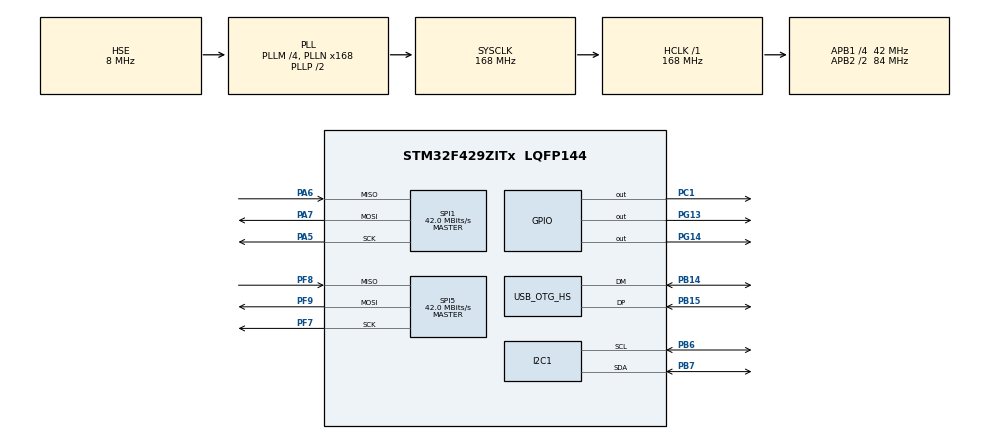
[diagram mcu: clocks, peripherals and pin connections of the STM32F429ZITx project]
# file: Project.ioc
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FREERTOS.BinarySemaphores01=myBinarySemBallUp,Dynamic,NULL;myBinarySemRacket,Dynamic,NULL
FREERTOS.CountingSemaphores01=myCountingRadiusCir,2,Dynamic,NULL
FREERTOS.Tasks01=Task01,24,128,StartTask1,Default,NULL,Dynamic,NULL,NULL;Task02,24,128,StartTask02,Default,NULL,Dynamic,NULL,NULL;Task03,24,128,StartTask03,Default,NULL,Dynamic,NULL,NULL;Task04,24,128,StartTask04,Default,NULL,Dynamic,NULL,NULL
Mcu.Family=STM32F4
Mcu.Name=STM32F429ZITx
Mcu.Package=LQFP144
NVIC.OTG_HS_IRQn=true\:5\:0\:false\:false\:true\:true\:true\:true\:true
NVIC.PriorityGroup=NVIC_PRIORITYGROUP_4
NVIC.TIM2_IRQn=true\:5\:0\:false\:false\:true\:true\:true\:true\:true
NVIC.TIM3_IRQn=true\:5\:0\:false\:false\:true\:true\:true\:true\:true
NVIC.TIM6_DAC_IRQn=true\:15\:0\:false\:false\:true\:false\:false\:true\:true
NVIC.TimeBase=TIM6_DAC_IRQn
NVIC.TimeBaseIP=TIM6
PA13.Mode=Serial_Wire
PA13.Signal=SYS_JTMS-SWDIO
PA14.Mode=Serial_Wire
PA14.Signal=SYS_JTCK-SWCLK
PA5.Mode=Full_Duplex_Master
PA5.Signal=SPI1_SCK
PA6.Mode=Full_Duplex_Master
PA6.Signal=SPI1_MISO
PA7.Mode=Full_Duplex_Master
PA7.Signal=SPI1_MOSI
PB14.Mode=Device_Only_FS
PB14.Signal=USB_OTG_HS_DM
PB15.Mode=Device_Only_FS
PB15.Signal=USB_OTG_HS_DP
PB6.Mode=I2C
PB6.Signal=I2C1_SCL
PB7.Mode=I2C
PB7.Signal=I2C1_SDA
PC1.Signal=GPIO_Output
PF7.Mode=Full_Duplex_Master
PF7.Signal=SPI5_SCK
PF8.Mode=Full_Duplex_Master
PF8.Signal=SPI5_MISO
PF9.Mode=Full_Duplex_Master
PF9.Signal=SPI5_MOSI
PG13.GPIO_Speed=GPIO_SPEED_FREQ_HIGH
PG13.PinState=GPIO_PIN_RESET
PG13.Signal=GPIO_Output
PG14.GPIO_Speed=GPIO_SPEED_FREQ_HIGH
PG14.Signal=GPIO_Output
PH0/OSC_IN.Mode=HSE-External-Oscillator
PH0/OSC_IN.Signal=RCC_OSC_IN
PH1/OSC_OUT.Mode=HSE-External-Oscillator
PH1/OSC_OUT.Signal=RCC_OSC_OUT
ProjectManager.HeapSize=0x2000
ProjectManager.StackSize=0x400
ProjectManager.TargetToolchain=STM32CubeIDE
RCC.48MHZClocksFreq_Value=48000000
RCC.AHBFreq_Value=168000000
RCC.APB1CLKDivider=RCC_HCLK_DIV4
RCC.APB1Freq_Value=42000000
RCC.APB1TimFreq_Value=84000000
RCC.APB2CLKDivider=RCC_HCLK_DIV2
RCC.APB2Freq_Value=84000000
RCC.APB2TimFreq_Value=168000000
RCC.CortexFreq_Value=168000000
RCC.HCLKFreq_Value=168000000
RCC.HSE_VALUE=8000000
RCC.HSI_VALUE=16000000
RCC.LSE_VALUE=32768
RCC.PLLM=4
RCC.PLLN=168
RCC.PLLQ=7
RCC.SYSCLKFreq_VALUE=168000000
RCC.SYSCLKSource=RCC_SYSCLKSOURCE_PLLCLK
RCC.VCOOutputFreq_Value=336000000
SPI1.CalculateBaudRate=42.0 MBits/s
SPI1.Direction=SPI_DIRECTION_2LINES
SPI1.Mode=SPI_MODE_MASTER
SPI1.VirtualType=VM_MASTER
SPI5.CalculateBaudRate=42.0 MBits/s
SPI5.Direction=SPI_DIRECTION_2LINES
SPI5.Mode=SPI_MODE_MASTER
SPI5.VirtualType=VM_MASTER
TIM2.AutoReloadPreload=TIM_AUTORELOAD_PRELOAD_ENABLE
TIM2.Period=7200
TIM2.Prescaler=1000
TIM3.Period=7200
TIM3.Prescaler=1000
USB_DEVICE.CLASS_NAME_HS=CDC
USB_DEVICE.VirtualMode-CDC_HS=Cdc
USB_DEVICE.VirtualModeHS=Cdc_HS
USB_OTG_HS.VirtualMode-Device_Only_FS=Device_Only_FS
VP_FREERTOS_VS_CMSIS_V2.Mode=CMSIS_V2
VP_SYS_VS_tim6.Mode=TIM6
VP_TIM2_VS_ClockSourceINT.Mode=Internal
VP_TIM3_VS_ClockSourceINT.Mode=Internal
VP_USB_DEVICE_VS_USB_DEVICE_CDC_HS.Mode=CDC_HS
board=custom

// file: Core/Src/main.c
/* USER CODE BEGIN Header */
/**
 ******************************************************************************
 * @file           : main.c
 * @brief          : Main program body
 ******************************************************************************
 * @attention
 *
 * Copyright (c) 2023 STMicroelectronics.
 * All rights reserved.
 *
 * This software is licensed under terms that can be found in the LICENSE file
 * in the root directory of this software component.
 * If no LICENSE file comes with this software, it is provided AS-IS.
 *
 ******************************************************************************
 */
/* USER CODE END Header */
#include "main.h"
#include "cmsis_os.h"
#include "usb_device.h"

/* USER CODE BEGIN Includes */
#include "usbd_cdc_if.h"
#include "stm32f429i_discovery_gyroscope.h"
#include "stm32f429i_discovery_lcd.h"
#include <stdbool.h>
#include "l3gd20.h"
/* USER CODE END Includes */

/* USER CODE BEGIN PD */
osSemaphoreDef(myBinarySemBallUp);
osSemaphoreDef(myBinarySemRacket);
osSemaphoreDef(myCountingRadiusCir);
/* USER CODE END PD */

I2C_HandleTypeDef hi2c1;

SPI_HandleTypeDef hspi1;
SPI_HandleTypeDef hspi5;

TIM_HandleTypeDef htim2;
TIM_HandleTypeDef htim3;

/* Definitions for Task01 */
osThreadId_t Task01Handle;
const osThreadAttr_t Task01_attributes = { .name = "Task01", .stack_size = 128
		* 4, .priority = (osPriority_t) osPriorityNormal, };
/* Definitions for Task02 */
osThreadId_t Task02Handle;
const osThreadAttr_t Task02_attributes = { .name = "Task02", .stack_size = 128
		* 4, .priority = (osPriority_t) osPriorityNormal, };
/* Definitions for Task03 */
osThreadId_t Task03Handle;
const osThreadAttr_t Task03_attributes = { .name = "Task03", .stack_size = 128
		* 4, .priority = (osPriority_t) osPriorityNormal, };
/* Definitions for Task04 */
osThreadId_t Task04Handle;
const osThreadAttr_t Task04_attributes = { .name = "Task04", .stack_size = 128
		* 4, .priority = (osPriority_t) osPriorityNormal, };
/* Definitions for myBinarySemBallUp */
osSemaphoreId_t myBinarySemBallUpHandle;
const osSemaphoreAttr_t myBinarySemBallUp_attributes = { .name =
		"myBinarySemBallUp" };
/* Definitions for myBinarySemRacket */
osSemaphoreId_t myBinarySemRacketHandle;
const osSemaphoreAttr_t myBinarySemRacket_attributes = { .name =
		"myBinarySemRacket" };
/* Definitions for myCountingRadiusCir */
osSemaphoreId_t myCountingRadiusCirHandle;
const osSemaphoreAttr_t myCountingRadiusCir_attributes = { .name =
		"myCountingRadiusCir" };

void SystemClock_Config(void);
static void MX_GPIO_Init(void);
static void MX_I2C1_Init(void);
static void MX_SPI1_Init(void);
static void MX_TIM2_Init(void);
static void MX_TIM3_Init(void);
static void MX_SPI5_Init(void);
void StartTask1(void *argument);
void StartTask02(void *argument);
void StartTask03(void *argument);
void StartTask04(void *argument);

/* USER CODE BEGIN 0 */
float gyroData[5];
char gyroPrint[100];
int height = 0;
int score = 0;
char scoreBuffer[100];
char heightBuffer[100];
bool startGame = false;
bool ballUp = false;
bool racket = false;
int16_t XCir = 120;
int16_t YCir = 150;
int16_t radiusMax = 120;
int16_t radiusMin = 20;
int16_t radiusCir = 100;
uint16_t InitStruct;
/* USER CODE END 0 */

int main(void) {

	/* MCU Configuration--------------------------------------------------------*/

	/* Reset of all peripherals, Initializes the Flash interface and the Systick. */
	HAL_Init();

	/* Configure the system clock */
	SystemClock_Config();

	/* Initialize all configured peripherals */
	MX_GPIO_Init();
	MX_I2C1_Init();
	MX_SPI1_Init();
	MX_TIM2_Init();
	MX_TIM3_Init();
	MX_SPI5_Init();
	/* USER CODE BEGIN 2 */
	BSP_LCD_Init();
	BSP_GYRO_Init();

	BSP_LCD_LayerDefaultInit(1, SDRAM_DEVICE_ADDR);
	BSP_LCD_SelectLayer(1);
	BSP_LCD_DisplayOn();
	BSP_LCD_Clear(LCD_COLOR_BLUE);
	BSP_LCD_SetBackColor(LCD_COLOR_WHITE);
	BSP_LCD_SetTextColor(LCD_COLOR_BLUE);

	/* USER CODE END 2 */

	/* Init scheduler */
	osKernelInitialize();

	/* Create the semaphores(s) */
	/* creation of myBinarySemBallUp */
	myBinarySemBallUpHandle = osSemaphoreNew(1, 1,
			&myBinarySemBallUp_attributes);

	/* creation of myBinarySemRacket */
	myBinarySemRacketHandle = osSemaphoreNew(1, 1,
			&myBinarySemRacket_attributes);

	/* creation of myCountingRadiusCir */
	myCountingRadiusCirHandle = osSemaphoreNew(2, 2,
			&myCountingRadiusCir_attributes);

	/* Create the thread(s) */
	/* creation of Task01 */
	Task01Handle = osThreadNew(StartTask1, NULL, &Task01_attributes);

	/* creation of Task02 */
	Task02Handle = osThreadNew(StartTask02, NULL, &Task02_attributes);

	/* creation of Task03 */
	Task03Handle = osThreadNew(StartTask03, NULL, &Task03_attributes);

	/* creation of Task04 */
	Task04Handle = osThreadNew(StartTask04, NULL, &Task04_attributes);

	/* Start scheduler */
	osKernelStart();

	/* We should never get here as control is now taken by the scheduler */
	/* Infinite loop */
	while (1) {

	}
}

void SystemClock_Config(void) {
	RCC_OscInitTypeDef RCC_OscInitStruct = { 0 };
	RCC_ClkInitTypeDef RCC_ClkInitStruct = { 0 };

	/** Configure the main internal regulator output voltage
	 */
	__HAL_RCC_PWR_CLK_ENABLE();
	__HAL_PWR_VOLTAGESCALING_CONFIG(PWR_REGULATOR_VOLTAGE_SCALE1);

	/** Initializes the RCC Oscillators according to the specified parameters
	 * in the RCC_OscInitTypeDef structure.
	 */
	RCC_OscInitStruct.OscillatorType = RCC_OSCILLATORTYPE_HSE;
	RCC_OscInitStruct.HSEState = RCC_HSE_ON;
	RCC_OscInitStruct.PLL.PLLState = RCC_PLL_ON;
	RCC_OscInitStruct.PLL.PLLSource = RCC_PLLSOURCE_HSE;
	RCC_OscInitStruct.PLL.PLLM = 4;
	RCC_OscInitStruct.PLL.PLLN = 168;
	RCC_OscInitStruct.PLL.PLLP = RCC_PLLP_DIV2;
	RCC_OscInitStruct.PLL.PLLQ = 7;
	if (HAL_RCC_OscConfig(&RCC_OscInitStruct) != HAL_OK) {
		Error_Handler();
	}

	/** Initializes the CPU, AHB and APB buses clocks
	 */
	RCC_ClkInitStruct.ClockType = RCC_CLOCKTYPE_HCLK | RCC_CLOCKTYPE_SYSCLK
			| RCC_CLOCKTYPE_PCLK1 | RCC_CLOCKTYPE_PCLK2;
	RCC_ClkInitStruct.SYSCLKSource = RCC_SYSCLKSOURCE_PLLCLK;
	RCC_ClkInitStruct.AHBCLKDivider = RCC_SYSCLK_DIV1;
	RCC_ClkInitStruct.APB1CLKDivider = RCC_HCLK_DIV4;
	RCC_ClkInitStruct.APB2CLKDivider = RCC_HCLK_DIV2;

	if (HAL_RCC_ClockConfig(&RCC_ClkInitStruct, FLASH_LATENCY_5) != HAL_OK) {
		Error_Handler();
	}
}

static void MX_I2C1_Init(void) {

	hi2c1.Instance = I2C1;
	hi2c1.Init.ClockSpeed = 100000;
	hi2c1.Init.DutyCycle = I2C_DUTYCYCLE_2;
	hi2c1.Init.OwnAddress1 = 0;
	hi2c1.Init.AddressingMode = I2C_ADDRESSINGMODE_7BIT;
	hi2c1.Init.DualAddressMode = I2C_DUALADDRESS_DISABLE;
	hi2c1.Init.OwnAddress2 = 0;
	hi2c1.Init.GeneralCallMode = I2C_GENERALCALL_DISABLE;
	hi2c1.Init.NoStretchMode = I2C_NOSTRETCH_DISABLE;
	if (HAL_I2C_Init(&hi2c1) != HAL_OK) {
		Error_Handler();
	}

	/** Configure Analogue filter
	 */
	if (HAL_I2CEx_ConfigAnalogFilter(&hi2c1, I2C_ANALOGFILTER_ENABLE)
			!= HAL_OK) {
		Error_Handler();
	}

	/** Configure Digital filter
	 */
	if (HAL_I2CEx_ConfigDigitalFilter(&hi2c1, 0) != HAL_OK) {
		Error_Handler();
	}

}

static void MX_SPI1_Init(void) {

	/* SPI1 parameter configuration*/
	hspi1.Instance = SPI1;
	hspi1.Init.Mode = SPI_MODE_MASTER;
	hspi1.Init.Direction = SPI_DIRECTION_2LINES;
	hspi1.Init.DataSize = SPI_DATASIZE_8BIT;
	hspi1.Init.CLKPolarity = SPI_POLARITY_LOW;
	hspi1.Init.CLKPhase = SPI_PHASE_1EDGE;
	hspi1.Init.NSS = SPI_NSS_SOFT;
	hspi1.Init.BaudRatePrescaler = SPI_BAUDRATEPRESCALER_2;
	hspi1.Init.FirstBit = SPI_FIRSTBIT_MSB;
	hspi1.Init.TIMode = SPI_TIMODE_DISABLE;
	hspi1.Init.CRCCalculation = SPI_CRCCALCULATION_DISABLE;
	hspi1.Init.CRCPolynomial = 10;
	if (HAL_SPI_Init(&hspi1) != HAL_OK) {
		Error_Handler();
	}

}

static void MX_SPI5_Init(void) {

	/* SPI5 parameter configuration*/
	hspi5.Instance = SPI5;
	hspi5.Init.Mode = SPI_MODE_MASTER;
	hspi5.Init.Direction = SPI_DIRECTION_2LINES;
	hspi5.Init.DataSize = SPI_DATASIZE_8BIT;
	hspi5.Init.CLKPolarity = SPI_POLARITY_LOW;
	hspi5.Init.CLKPhase = SPI_PHASE_1EDGE;
	hspi5.Init.NSS = SPI_NSS_SOFT;
	hspi5.Init.BaudRatePrescaler = SPI_BAUDRATEPRESCALER_2;
	hspi5.Init.FirstBit = SPI_FIRSTBIT_MSB;
	hspi5.Init.TIMode = SPI_TIMODE_DISABLE;
	hspi5.Init.CRCCalculation = SPI_CRCCALCULATION_DISABLE;
	hspi5.Init.CRCPolynomial = 10;
	if (HAL_SPI_Init(&hspi5) != HAL_OK) {
		Error_Handler();
	}

}

static void MX_TIM2_Init(void) {

	TIM_ClockConfigTypeDef sClockSourceConfig = { 0 };
	TIM_MasterConfigTypeDef sMasterConfig = { 0 };

	htim2.Instance = TIM2;
	htim2.Init.Prescaler = 1000;
	htim2.Init.CounterMode = TIM_COUNTERMODE_UP;
	htim2.Init.Period = 7200;
	htim2.Init.ClockDivision = TIM_CLOCKDIVISION_DIV1;
	htim2.Init.AutoReloadPreload = TIM_AUTORELOAD_PRELOAD_ENABLE;
	if (HAL_TIM_Base_Init(&htim2) != HAL_OK) {
		Error_Handler();
	}
	sClockSourceConfig.ClockSource = TIM_CLOCKSOURCE_INTERNAL;
	if (HAL_TIM_ConfigClockSource(&htim2, &sClockSourceConfig) != HAL_OK) {
		Error_Handler();
	}
	sMasterConfig.MasterOutputTrigger = TIM_TRGO_RESET;
	sMasterConfig.MasterSlaveMode = TIM_MASTERSLAVEMODE_DISABLE;
	if (HAL_TIMEx_MasterConfigSynchronization(&htim2, &sMasterConfig)
			!= HAL_OK) {
		Error_Handler();
	}

}

static void MX_TIM3_Init(void) {

	TIM_ClockConfigTypeDef sClockSourceConfig = { 0 };
	TIM_MasterConfigTypeDef sMasterConfig = { 0 };

	htim3.Instance = TIM3;
	htim3.Init.Prescaler = 1000;
	htim3.Init.CounterMode = TIM_COUNTERMODE_UP;
	htim3.Init.Period = 7200;
	htim3.Init.ClockDivision = TIM_CLOCKDIVISION_DIV1;
	htim3.Init.AutoReloadPreload = TIM_AUTORELOAD_PRELOAD_DISABLE;
	if (HAL_TIM_Base_Init(&htim3) != HAL_OK) {
		Error_Handler();
	}
	sClockSourceConfig.ClockSource = TIM_CLOCKSOURCE_INTERNAL;
	if (HAL_TIM_ConfigClockSource(&htim3, &sClockSourceConfig) != HAL_OK) {
		Error_Handler();
	}
	sMasterConfig.MasterOutputTrigger = TIM_TRGO_RESET;
	sMasterConfig.MasterSlaveMode = TIM_MASTERSLAVEMODE_DISABLE;
	if (HAL_TIMEx_MasterConfigSynchronization(&htim3, &sMasterConfig)
			!= HAL_OK) {
		Error_Handler();
	}

}

static void MX_GPIO_Init(void) {
	GPIO_InitTypeDef GPIO_InitStruct = { 0 };

	/* GPIO Ports Clock Enable */
	__HAL_RCC_GPIOF_CLK_ENABLE();
	__HAL_RCC_GPIOH_CLK_ENABLE();
	__HAL_RCC_GPIOC_CLK_ENABLE();
	__HAL_RCC_GPIOA_CLK_ENABLE();
	__HAL_RCC_GPIOB_CLK_ENABLE();
	__HAL_RCC_GPIOG_CLK_ENABLE();

	/*Configure GPIO pin Output Level */
	HAL_GPIO_WritePin(GPIOC, GPIO_PIN_1, GPIO_PIN_RESET);

	/*Configure GPIO pin Output Level */
	HAL_GPIO_WritePin(GPIOG, GPIO_PIN_13 | GPIO_PIN_14, GPIO_PIN_RESET);

	/*Configure GPIO pin : PC1 */
	GPIO_InitStruct.Pin = GPIO_PIN_1;
	GPIO_InitStruct.Mode = GPIO_MODE_OUTPUT_PP;
	GPIO_InitStruct.Pull = GPIO_NOPULL;
	GPIO_InitStruct.Speed = GPIO_SPEED_FREQ_LOW;
	HAL_GPIO_Init(GPIOC, &GPIO_InitStruct);

	/*Configure GPIO pins : PG13 PG14 */
	GPIO_InitStruct.Pin = GPIO_PIN_13 | GPIO_PIN_14;
	GPIO_InitStruct.Mode = GPIO_MODE_OUTPUT_PP;
	GPIO_InitStruct.Pull = GPIO_NOPULL;
	GPIO_InitStruct.Speed = GPIO_SPEED_FREQ_HIGH;
	HAL_GPIO_Init(GPIOG, &GPIO_InitStruct);

}

void StartTask1(void *argument) {
	/* init code for USB_DEVICE */
	MX_USB_DEVICE_Init();
	/* USER CODE BEGIN 5 */
	/* Infinite loop */
	for (;;) {
		osSemaphoreAcquire(myBinarySemBallUpHandle, 1000);
		if (!ballUp) {
			radiusCir--;
		} else
			radiusCir++;
		osSemaphoreRelease(myCountingRadiusCirHandle);
		osSemaphoreRelease(myCountingRadiusCirHandle);
		BSP_LCD_Clear(LCD_COLOR_WHITE);
		BSP_LCD_FillCircle(XCir, YCir, radiusCir);
		osDelay(100);
	}
	/* USER CODE END 5 */
}

void StartTask02(void *argument) {
	/* USER CODE BEGIN StartTask02 */
	/* Infinite loop */
//  CDC_Init_HS();
	racket = false;
	for (;;) {
		if (radiusCir == radiusMax) {
			ballUp = false;
		}
		BSP_GYRO_GetXYZ(gyroData);
		if (gyroData[0] <= 0) {
			racket = false;
		} else if (gyroData[1] > 0) {
			racket = true;
			if (radiusCir < radiusMin + 2&& radiusCir > radiusMin -2 && racket == true) {
				ballUp = true;
			}
			osSemaphoreRelease(myBinarySemBallUpHandle);
			osSemaphoreRelease(myBinarySemRacketHandle);
			osDelay(500);
			racket = false;
		}
		osDelay(100);
	}
	/* USER CODE END StartTask02 */
}

void StartTask03(void *argument) {
	/* USER CODE BEGIN StartTask03 */
	/* Infinite loop */
	bool scored = false;
	for (;;) {
		osSemaphoreAcquire(myCountingRadiusCirHandle, 1000);
		osSemaphoreAcquire(myBinarySemBallUpHandle, 1000);
		if (radiusCir < radiusMin + 2&& radiusCir > radiusMin -2 && scored == false && racket == true) {
			score++;
			scored = true;
		} else if (radiusCir < radiusMin + 2&& radiusCir > radiusMin -2 && scored == true) {

		} else
			scored = false;
		sprintf(scoreBuffer, "Score: %d", score);
		BSP_LCD_DisplayStringAtLine(0, (uint8_t*) scoreBuffer);

		if (score == 4) {
			BSP_LCD_Clear(LCD_COLOR_WHITE);
			BSP_LCD_DisplayStringAtLine(6, (uint8_t*) "       Game Over");
			taskEXIT_CRITICAL();
		}
		osDelay(1);
	}
	/* USER CODE END StartTask03 */
}

void StartTask04(void *argument) {
	/* USER CODE BEGIN StartTask04 */
	/* Infinite loop */
	for (;;) {
		osSemaphoreAcquire(myCountingRadiusCirHandle, 1000);
		height = radiusCir - 20;
		sprintf(heightBuffer, "Height = %d\n", height);
		CDC_Transmit_HS((uint8_t*) heightBuffer, strlen(heightBuffer));
		osDelay(1);
	}
	/* USER CODE END StartTask04 */
}

void HAL_TIM_PeriodElapsedCallback(TIM_HandleTypeDef *htim) {
	if (htim->Instance == TIM6) {
		HAL_IncTick();
	}
}

void Error_Handler(void) {
	__disable_irq();
	while (1) {
	}
}
